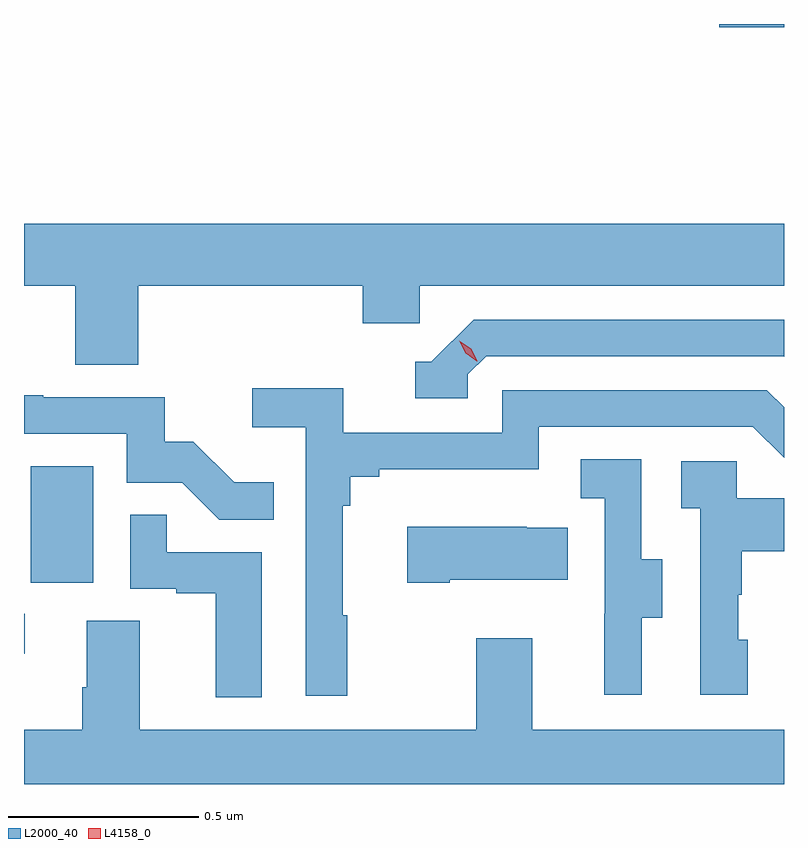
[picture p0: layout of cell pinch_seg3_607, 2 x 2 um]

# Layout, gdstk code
import gdstk
lib = gdstk.Library(unit=1e-6, precision=1e-09)
def R(c, l, rs):  # rectangles x0, y0, x1, y1
    for r in rs: c.add(gdstk.rectangle(r[:2], r[2:], *l))
def P(c, l, *ps):  # polygons
    for p in ps: c.add(gdstk.Polygon(p, *l))
L2000_40 = (2000, 40)
L4158_0 = (4158, 0)

pinch_seg3_607 = lib.new_cell('pinch_seg3_607')
R(pinch_seg3_607, L2000_40, [(1077.944,697.284,1077.946,697.389), (1077.962,697.47,1078.126,697.777), (1079.773,698.932,1079.944,698.941)])
P(pinch_seg3_607, L2000_40, [(1078.244,698.252),(1078.835,698.252),(1078.835,698.154),(1078.986,698.154),(1078.986,698.252),(1079.944,698.252),(1079.944,698.416),(1077.944,698.416),(1077.944,698.252),(1078.079,698.252),(1078.079,698.044),(1078.244,698.044)],
  [(1079.112,698.019),(1079.16,698.067),(1079.943,698.067),(1079.944,698.066),(1079.944,698.163),(1079.127,698.163),(1079.016,698.052),(1078.973,698.052),(1078.973,697.956),(1079.112,697.956)],
  [(1078.795,697.385),(1078.783,697.385),(1078.783,697.673),(1078.802,697.673),(1078.802,697.75),(1078.879,697.75),(1078.879,697.769),(1079.298,697.769),(1079.298,697.881),(1079.862,697.881),(1079.944,697.799),(1079.944,697.932),(1079.899,697.977),(1079.202,697.977),(1079.202,697.866),(1078.784,697.866),(1078.784,697.982),(1078.545,697.982),(1078.545,697.88),(1078.686,697.88),(1078.686,697.173),(1078.795,697.173)],
  [(1078.601,697.735),(1078.497,697.735),(1078.39,697.842),(1078.314,697.842),(1078.314,697.959),(1077.995,697.959),(1077.995,697.964),(1077.944,697.964),(1077.944,697.863),(1078.215,697.863),(1078.215,697.734),(1078.36,697.734),(1078.458,697.636),(1078.601,697.636)],
  [(1079.569,697.378),(1079.623,697.378),(1079.623,697.533),(1079.568,697.533),(1079.568,697.796),(1079.409,697.796),(1079.409,697.693),(1079.472,697.693),(1079.472,697.389),(1079.471,697.389),(1079.471,697.176),(1079.569,697.176)],
  [(1079.848,697.32),(1079.823,697.32),(1079.823,697.439),(1079.833,697.439),(1079.833,697.553),(1079.944,697.553),(1079.944,697.693),(1079.82,697.693),(1079.82,697.791),(1079.673,697.791),(1079.673,697.667),(1079.724,697.667),(1079.724,697.176),(1079.848,697.176)],
  [(1078.57,697.551),(1078.319,697.551),(1078.319,697.649),(1078.224,697.649),(1078.224,697.455),(1078.345,697.455),(1078.345,697.443),(1078.448,697.443),(1078.448,697.169),(1078.57,697.169)],
  [(1079.065,697.478),(1079.375,697.478),(1079.375,697.615),(1079.267,697.615),(1079.267,697.618),(1078.953,697.618),(1078.953,697.471),(1079.065,697.471)],
  [(1079.944,697.084),(1079.281,697.084),(1079.281,697.324),(1079.134,697.324),(1079.134,697.084),(1078.249,697.084),(1078.249,697.37),(1078.109,697.37),(1078.109,697.196),(1078.097,697.196),(1078.097,697.084),(1077.944,697.084),(1077.944,696.941),(1079.944,696.941)])
P(pinch_seg3_607, L4158_0, [(1079.136,698.053),(1079.106,698.074),(1079.09,698.107),(1079.09,698.107),(1079.09,698.107),(1079.121,698.087),(1079.137,698.054),(1079.137,698.053)])

lib.write_gds('pinch_seg3_607.gds')
